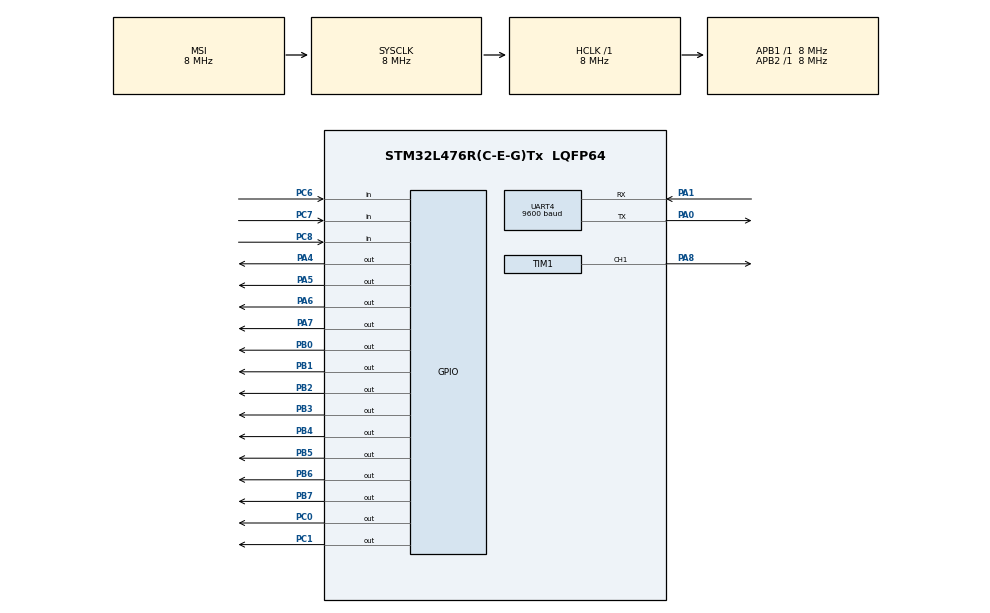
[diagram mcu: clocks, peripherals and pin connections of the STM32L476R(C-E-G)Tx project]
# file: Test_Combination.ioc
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Mcu.Family=STM32L4
Mcu.Name=STM32L476R(C-E-G)Tx
Mcu.Package=LQFP64
NVIC.PriorityGroup=NVIC_PRIORITYGROUP_4
PA0.Mode=Asynchronous
PA0.Signal=UART4_TX
PA1.Mode=Asynchronous
PA1.Signal=UART4_RX
PA4.Signal=GPIO_Output
PA5.Signal=GPIO_Output
PA6.Signal=GPIO_Output
PA7.Signal=GPIO_Output
PA8.Signal=S_TIM1_CH1
PB0.Signal=GPIO_Output
PB1.Signal=GPIO_Output
PB2.Signal=GPIO_Output
PB3\ (JTDO-TRACESWO).Signal=GPIO_Output
PB4\ (NJTRST).Signal=GPIO_Output
PB5.Signal=GPIO_Output
PB6.Signal=GPIO_Output
PB7.Signal=GPIO_Output
PC0.Signal=GPIO_Output
PC1.Signal=GPIO_Output
PC6.Signal=GPIO_Input
PC7.Signal=GPIO_Input
PC8.Signal=GPIO_Input
PH0-OSC_IN\ (PH0).Mode=HSE-External-Oscillator
PH0-OSC_IN\ (PH0).Signal=RCC_OSC_IN
PH1-OSC_OUT\ (PH1).Mode=HSE-External-Oscillator
PH1-OSC_OUT\ (PH1).Signal=RCC_OSC_OUT
ProjectManager.HeapSize=0x200
ProjectManager.StackSize=0x400
ProjectManager.TargetToolchain=MDK-ARM V5
RCC.ADCFreq_Value=32000000
RCC.AHBFreq_Value=8000000
RCC.APB1Freq_Value=8000000
RCC.APB1TimFreq_Value=8000000
RCC.APB2Freq_Value=8000000
RCC.APB2TimFreq_Value=8000000
RCC.CortexFreq_Value=8000000
RCC.HCLKFreq_Value=8000000
RCC.HSE_VALUE=8000000
RCC.HSI_VALUE=16000000
RCC.LSE_VALUE=32768
RCC.MSIClockRange=RCC_MSIRANGE_7
RCC.MSI_VALUE=8000000
RCC.SYSCLKFreq_VALUE=8000000
RCC.USBFreq_Value=32000000
RCC.VCOOutputFreq_Value=64000000
SH.S_TIM1_CH1.0=TIM1_CH1,PWM Generation1 CH1
TIM1.Channel-PWM\ Generation1\ CH1=TIM_CHANNEL_1
TIM1.Period=100
TIM1.Prescaler=1
UART4.BaudRate=9600
UART4.WordLength=WORDLENGTH_8B
VP_TIM1_VS_ClockSourceINT.Mode=Internal
board=Test_Combination

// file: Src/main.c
/**
  ******************************************************************************
  * @file           : main.c
  * @brief          : Main program body
  ******************************************************************************
  ** This notice applies to any and all portions of this file
  * that are not between comment pairs USER CODE BEGIN and
  * USER CODE END. Other portions of this file, whether
  * inserted by the user or by software development tools
  * are owned by their respective copyright owners.
  *
  * COPYRIGHT(c) 2018 STMicroelectronics
  *
  * Redistribution and use in source and binary forms, with or without modification,
  * are permitted provided that the following conditions are met:
  *   1. Redistributions of source code must retain the above copyright notice,
  *      this list of conditions and the following disclaimer.
  *   2. Redistributions in binary form must reproduce the above copyright notice,
  *      this list of conditions and the following disclaimer in the documentation
  *      and/or other materials provided with the distribution.
  *   3. Neither the name of STMicroelectronics nor the names of its contributors
  *      may be used to endorse or promote products derived from this software
  *      without specific prior written permission.
  *
  * THIS SOFTWARE IS PROVIDED BY THE COPYRIGHT HOLDERS AND CONTRIBUTORS "AS IS"
  * AND ANY EXPRESS OR IMPLIED WARRANTIES, INCLUDING, BUT NOT LIMITED TO, THE
  * IMPLIED WARRANTIES OF MERCHANTABILITY AND FITNESS FOR A PARTICULAR PURPOSE ARE
  * DISCLAIMED. IN NO EVENT SHALL THE COPYRIGHT HOLDER OR CONTRIBUTORS BE LIABLE
  * FOR ANY DIRECT, INDIRECT, INCIDENTAL, SPECIAL, EXEMPLARY, OR CONSEQUENTIAL
  * DAMAGES (INCLUDING, BUT NOT LIMITED TO, PROCUREMENT OF SUBSTITUTE GOODS OR
  * SERVICES; LOSS OF USE, DATA, OR PROFITS; OR BUSINESS INTERRUPTION) HOWEVER
  * CAUSED AND ON ANY THEORY OF LIABILITY, WHETHER IN CONTRACT, STRICT LIABILITY,
  * OR TORT (INCLUDING NEGLIGENCE OR OTHERWISE) ARISING IN ANY WAY OUT OF THE USE
  * OF THIS SOFTWARE, EVEN IF ADVISED OF THE POSSIBILITY OF SUCH DAMAGE.
  *
  ******************************************************************************
  */
#include "main.h"
#include "stm32l4xx_hal.h"

/* USER CODE BEGIN Includes */

#define RS_Pin GPIO_PIN_4
#define RS_GPIO_Port GPIOA
#define RW_Pin GPIO_PIN_5
#define RW_GPIO_Port GPIOA
#define EN_Pin GPIO_PIN_6
#define EN_GPIO_Port GPIOA
#define LD2_Pin GPIO_PIN_7
#define LD2_GPIO_Port GPIOA
#define DB0_Pin GPIO_PIN_0
#define DB0_GPIO_Port GPIOB
#define DB1_Pin GPIO_PIN_1
#define DB1_GPIO_Port GPIOB
#define DB2_Pin GPIO_PIN_2
#define DB2_GPIO_Port GPIOB
#define DB3_Pin GPIO_PIN_3
#define DB3_GPIO_Port GPIOB
#define DB4_Pin GPIO_PIN_4
#define DB4_GPIO_Port GPIOB
#define DB5_Pin GPIO_PIN_5
#define DB5_GPIO_Port GPIOB
#define DB6_Pin GPIO_PIN_6
#define DB6_GPIO_Port GPIOB
#define DB7_Pin GPIO_PIN_7
#define DB7_GPIO_Port GPIOB
#define ROW 2
#define COLUMN 16

uint8_t smsat[]="AT\r";
uint8_t smscmgf[]="AT+CMGF=1\r";
uint8_t smscmgr[]="AT+CMGR=x\r";
uint8_t smscmgd[]="AT+CMGD=1,x\r";
uint8_t smscpms[]="AT+CPMS=\"SM\"\r";
uint8_t smscnmi[]="AT+CNMI=2,2,0,0,0\r";
uint8_t pattern[]="Rs. ";
char gsminit[]="GSM Init....";
char start[]="Press next";
char please_select[]="Please Select";
char pay[]="Pay Rs.00.00";
char tez[]="via Tez....";
char received[]="Received";
char no_selection[]="No selection";
char thank_you[]="Thank You";
char collect[]="Enjoy your food";
char underpaid[]="You underpaid";
char pay_the_rest[]="Pay the rest";
char overpaid[]="You overpaid";
char select_more[]="Select more food";
char wait[]="Wait...";

char Nutcrackers[]="Nuts X 00";
int nuts=0,nutstotal=0;
char Bhujiya[]="Bhujiya X 00";
int bhuj=0,transaction=0,bhujtotal=0;
char error[]="Error, try again";
char welcome[]="Welcome...";
char gsm_received_message[]="Money received";
char money[]="0000000000";
char * str_to_be_paid;

GPIO_PinState button1;
GPIO_PinState button2;
GPIO_PinState button3;

int bufferlen=300;

int i,j=0,mode;
int pos=0,success=0,msg_status=0;
int position;
int under_paid=0, over_paid=0;
float value=0,to_be_paid=0,old_to_be_paid=0;
uint8_t buffer[300];
uint8_t buff;

int Period,DutyCycle=40;

uint8_t count,col, printcnt;	//
uint32_t glitchcnt;
char char_to_be_printed;		// Used with printchar() function
static char bufferlcd[8];
char a[] = "Scan->press next";  // 8 digits integer for lcd_itoa(int) function
//DDRAM Address matrix for 20x4 LCD
char lcd_address[ROW][COLUMN]={
												{0x80, 0x81, 0x82, 0x83, 0x84, 0x85, 0x86, 0x87, 0x88, 0x89, 0x90, 0x91, 0x92, 0x93},
												{0xC0, 0xC1, 0xC2, 0xC3, 0xC4, 0xC5, 0xC6, 0xC7, 0xC8, 0xC9, 0xD0, 0xD1, 0xD2, 0xD3}};

/* USER CODE END Includes */

TIM_HandleTypeDef htim1;

UART_HandleTypeDef huart4;

/* USER CODE BEGIN PV */
/* Private variables ---------------------------------------------------------*/

/* USER CODE END PV */

void SystemClock_Config(void);
static void MX_GPIO_Init(void);
static void MX_UART4_Init(void);
static void MX_TIM1_Init(void);
void HAL_TIM_MspPostInit(TIM_HandleTypeDef *htim);

/* USER CODE BEGIN PFP */
/* Private function prototypes -----------------------------------------------*/

/* USER CODE END PFP */

/* USER CODE BEGIN 0 */
void GSM_init()
{
	memset(buffer,0x00,bufferlen);

	i=0;
	HAL_UART_Transmit(&huart4,smsat,3,100);

	HAL_Delay(100);
	do
	{
		if(HAL_UART_Receive(&huart4,&buffer[i++],1,5)==HAL_OK);
	}while(i<bufferlen);

	HAL_Delay(100);

}

void GSM_cmgf()
{
	memset(buffer,0x00,bufferlen);
	i=0;
	HAL_UART_Transmit(&huart4,smscmgf,sizeof(smscmgf)/sizeof(uint8_t),100);
	HAL_Delay(100);
	do
	{
		if(HAL_UART_Receive(&huart4,&buffer[i++],1,5)==HAL_OK);
	}while(i<bufferlen);

	HAL_Delay(100);
}

void GSM_read(int index)
{

	smscmgr[8]=index+48;		//to turn into ASCII
	memset(buffer,0x00,bufferlen);
	i=0;
	HAL_UART_Transmit(&huart4,smscmgr,sizeof(smscmgr)/sizeof(uint8_t),100);
	HAL_Delay(100);
	do
	{
		if(HAL_UART_Receive(&huart4,&buffer[i++],1,5)==HAL_OK);
	}while(i<bufferlen);

	HAL_Delay(100);
}

void GSM_cpms()
{
	memset(buffer,0x00,bufferlen);
	i=0;
	HAL_UART_Transmit(&huart4,smscpms,sizeof(smscpms)/sizeof(uint8_t),100);
	HAL_Delay(100);
	do
	{
		if(HAL_UART_Receive(&huart4,&buffer[i++],1,5)==HAL_OK);
	}while(i<bufferlen);

	HAL_Delay(100);
}
void GSM_delete(int flag)
{
	smscmgd[10]=flag+48;
	memset(buffer,0x00,bufferlen);
	i=0;
	HAL_UART_Transmit(&huart4,smscmgd,sizeof(smscmgd)/sizeof(uint8_t),100);
	HAL_Delay(100);
	do
	{
		if(HAL_UART_Receive(&huart4,&buffer[i++],1,5)==HAL_OK);
	}while(i<bufferlen);

	HAL_Delay(100);
}

void GSM_cnmi()
{
	memset(buffer,0x00,bufferlen);
	i=0;
	HAL_UART_Transmit(&huart4,smscnmi,sizeof(smscnmi)/sizeof(uint8_t),100);
	HAL_Delay(100);
	do
	{
		if(HAL_UART_Receive(&huart4,&buffer[i++],1,5)==HAL_OK);
	}while(i<bufferlen);

	HAL_Delay(100);
}

int GSM_wait_for_message()
{
	int status=0;
	memset(buffer,0x00,bufferlen);
	while(1){

		i=0;
		while(1){
			if(HAL_UART_Receive(&huart4,&buff,1,5)==HAL_OK);
				if(buff=='\r')
				{
					success=1;
					break;
				}
		}
		do
		{
			if(HAL_UART_Receive(&huart4,&buffer[i++],1,5)==HAL_OK);
		}while(i<bufferlen);
		HAL_Delay(100);
		if(i==300)
		{
			status=1;
			break;
		}
	}

	HAL_Delay(100);
	buff=0x00;
	return(status);
}

int search(uint8_t * pattern, int pat_size)
{

	for(pos=1; pos<bufferlen; pos++)
	{
		for (j=0; j<pat_size; j++)
		{
            if (buffer[pos+j] != pattern[j]){
					           break;
						}
	  }
        if (j==pat_size){            // if pat[0...M-1] = txt[i, i+1, ...i+M-1]

					break;
				}
	}
	return(pos);
}

void write_command(void)		//
	{
	HAL_GPIO_WritePin(GPIOA, RS_Pin| RW_Pin | EN_Pin, GPIO_PIN_RESET); //RS, RW and EN are made 0
	HAL_GPIO_WritePin(GPIOA, EN_Pin, GPIO_PIN_SET); //EN is made 1
	HAL_Delay(10);
	HAL_GPIO_WritePin(GPIOA, RW_Pin, GPIO_PIN_SET); //RW is made 1
	HAL_GPIO_WritePin(GPIOA, RW_Pin, GPIO_PIN_RESET); //RW is made 0
	HAL_Delay(10);
	}

/**
  * @brief Clear up LCD panel
  * @param none
	* @retval void
 */
void clrlcd(void)
{
/*
	GPIOB->ODR=0x01;
	write_command();
	HAL_GPIO_WritePin(GPIOA, RW_Pin, GPIO_PIN_RESET); //RW is made 0
*/
	HAL_GPIO_WritePin(GPIOA, RS_Pin| RW_Pin , GPIO_PIN_RESET); //RS, RW are made 0
	GPIOB->ODR=0x01;
	HAL_GPIO_WritePin(GPIOA, EN_Pin, GPIO_PIN_SET); //EN is made 1
	HAL_Delay(50);
	HAL_GPIO_WritePin(GPIOA, EN_Pin, GPIO_PIN_RESET); //EN is made 0
	HAL_Delay(50);
	HAL_GPIO_WritePin(GPIOA, RS_Pin, GPIO_PIN_SET);   //RS is made 1
	HAL_GPIO_WritePin(GPIOA, RW_Pin, GPIO_PIN_RESET); //RW is made 0
}
/**
  * @brief Initialize the 20x4 LCD as per sequence indicated in the datasheet
  * @param none
	* @retval void
 */

void lcd_init(void)
{
	GPIOB->ODR=0xFF; //Set DB7-DB0 High
	HAL_GPIO_WritePin(GPIOA, RS_Pin| RW_Pin | EN_Pin, GPIO_PIN_RESET); //RS, RW and EN are made 0
	GPIOB->ODR=0x30; //DB7-DB0=0x30
	write_command();
	GPIOB->ODR=0x38; //DB7-DB0=0x38
	write_command();
	GPIOB->ODR=0x08; //DB7-DB0=0x08
	write_command();
	GPIOB->ODR=0x03; //DB7-DB0=0x03
	write_command();
	GPIOB->ODR=0x06; //DB7-DB0=0x06
	write_command();
	GPIOB->ODR=0x0C; //DB7-DB0=0x0C                     0x0F will make the cursor visible and blinking =1
	write_command();
	GPIOB->ODR=0x80; //DB7-DB0=0x80
	write_command();
	clrlcd();
}

/**
  * @brief Print a single character on 20x4 LCD panel
  * @param char_to_be_printed: Single character to be printed
	* @retval void
 */
void printchar(char  char_to_be_printed)
{
 GPIOB->ODR=char_to_be_printed;
 HAL_GPIO_WritePin(GPIOA, RS_Pin| EN_Pin, GPIO_PIN_SET); //RS and EN are made 1
 HAL_Delay(10); //EN pulse width
 HAL_GPIO_WritePin(GPIOA, EN_Pin, GPIO_PIN_RESET); //EN is made 0
 HAL_GPIO_WritePin(GPIOA, RW_Pin, GPIO_PIN_SET); //RW is made 1
 HAL_GPIO_WritePin(GPIOA, RW_Pin| RS_Pin| EN_Pin, GPIO_PIN_RESET); //RW, RS and EN are made 0

}

/**
  * @brief Move LCD cursor to the user specified location on the panel
  * @param address: address of the location as per datasheet
	* @retval void
 */
void lcd_setcursor(char address)
{
	GPIOB->ODR=address;
	write_command();
	HAL_GPIO_WritePin(GPIOA, RW_Pin, GPIO_PIN_RESET); //RW is made 0
}

/**
  * @brief Print String at a user specified location on a 20x4 LCD panel
  * @param str: String to be printed with strlen < 20 characters
	* 			 row:	Row number between 0-3
	*				 col: Column number between 0-19
  * @retval void
 */
void printtextatlocation(char * str, uint8_t row, uint8_t col)
{
	//Uncomment the clrlcd() below if right most digit stays back while printing from a 4 digit value to 3 digit value
	//clrlcd();
	lcd_setcursor(lcd_address[0][0]); //Cursor to the first location of the first row
	lcd_setcursor(lcd_address[row][0]); //Cursor to the first location of the desired row
	lcd_setcursor(lcd_address[row][col]); //Cursor to the desired location

	count= strlen(str);
				for(col=0;col<count; col++)
				{
					char_to_be_printed=str[col];
					printchar(char_to_be_printed);
				}
}
/**
  * @brief Convert integer to String for display on 20x4 LCD panel
  * @param value: Integer number to be converted to string
	* @retval void
 */
char * lcd_itoa(int value)
 {
     int original = value;        // save original value
		 int c = sizeof(bufferlcd)-1;

     bufferlcd[c] = 0;                // write NULL in the last byte of the buffer

     if (value < 0)                 // if it's negative, take the absolute value
         value = -value;

     do                             // write LSB of value
     {
         bufferlcd[--c] = (value % 10) + '0';
         value /= 10;
     } while (value);

     if (original < 0)
         bufferlcd[--c] = '-';

     return &bufferlcd[c];
	 }

	 void wait_button_1()
	 {
		 while(1)
		 {
			 if(HAL_GPIO_ReadPin(GPIOC, GPIO_PIN_6)==GPIO_PIN_RESET)
			 {
				 break;
			 }
		 }
		 return;
	 }

	 void wait_for_selection()
	 {
		 nuts=0;
		 bhuj=0;
		 Nutcrackers[8]='0';
		 Bhujiya[11]='0';
		 while(1)
			 {

				 button1=HAL_GPIO_ReadPin(GPIOC, GPIO_PIN_6);
				 button2=HAL_GPIO_ReadPin(GPIOC, GPIO_PIN_7);
				 button3=HAL_GPIO_ReadPin(GPIOC, GPIO_PIN_8);

				 if(button2==GPIO_PIN_RESET)
				 {
					 Nutcrackers[8]++;
					 nuts++;
					 HAL_Delay(100);
				 }

				 if(button3==GPIO_PIN_RESET)
				 {
					 Bhujiya[11]++;
					 bhuj++;
					 HAL_Delay(100);
				 }

				 if(button1==GPIO_PIN_RESET)
				 {
					 HAL_Delay(100);
					 return;
					 break;
				 }
				 HAL_Delay(150);
			 }

	 }

void str2int()
{
		float temp=0;
		int k=1;
		value=0;
		i=4;
	  while(money[i]!='.')
		{
			temp=money[i];
			temp=temp-48;
			value=(value*10)+temp;
			i++;
		}
		i++;
		/*temp=0;
		while(money[i]!=0x00)
		{
			temp=money[i];
			temp=temp-48;
			temp=temp/(10^k);
			k++;
			value=value+temp;
		}*/
}

void motor_rotate()
{
	int time=8000;
	while(nutstotal!=0 || bhujtotal !=0)
	{
		if(nutstotal!=0)
		{
			HAL_GPIO_WritePin(GPIOC,GPIO_PIN_0,GPIO_PIN_RESET);
			nutstotal--;
		}
		if(bhujtotal!=0)
		{
			HAL_GPIO_WritePin(GPIOC,GPIO_PIN_1,GPIO_PIN_RESET);
			bhujtotal--;
		}
		HAL_Delay(time);

			HAL_GPIO_WritePin(GPIOC,GPIO_PIN_0,GPIO_PIN_SET);
			HAL_GPIO_WritePin(GPIOC,GPIO_PIN_1,GPIO_PIN_SET);

	}
	return;
}

/* USER CODE END 0 */

int main(void)
{

  /* MCU Configuration----------------------------------------------------------*/

  /* Reset of all peripherals, Initializes the Flash interface and the Systick. */
  HAL_Init();

  /* Configure the system clock */
  SystemClock_Config();

  /* Initialize all configured peripherals */
  MX_GPIO_Init();
  MX_UART4_Init();
  MX_TIM1_Init();
  /* USER CODE BEGIN 2 */
	HAL_GPIO_WritePin(GPIOC,GPIO_PIN_0,GPIO_PIN_SET);
	HAL_GPIO_WritePin(GPIOC,GPIO_PIN_1,GPIO_PIN_SET);

	Period = htim1.Init.Period +1;
	HAL_TIM_PWM_Start(&htim1, TIM_CHANNEL_1); //PWM Generation for Contrast Pin
	TIM1->CCR1= DutyCycle*Period/100;
	lcd_init(); //Initialize the LCD

	clrlcd();
	printtextatlocation(gsminit,0,0);
	GSM_init();
	GSM_cmgf();
	GSM_delete(4);
	HAL_Delay(500);
	clrlcd();

  /* USER CODE END 2 */

  /* Infinite loop */
  /* USER CODE BEGIN WHILE */
  while (1)
  {

		clrlcd();
		printtextatlocation(welcome,0,0);  //Welcome message
		printtextatlocation(start,1,0);		//Press next to continue
		wait_button_1();									//Waiting for the user to press control button PA6
		to_be_paid=0;
		old_to_be_paid=0;
		transaction=1;

		while(transaction)
		{
					if(!under_paid)
					{
							clrlcd();
							printtextatlocation(please_select,0,0);		//Print select your choice
							printtextatlocation(start,1,0);					//Press next to continue

							wait_for_selection();
							clrlcd();
							printtextatlocation(Nutcrackers,0,0);		//Print selected choices
							printtextatlocation(Bhujiya,1,0);
							HAL_Delay(2000);

					}
					to_be_paid = to_be_paid + (nuts*5) + (bhuj*10);
					nutstotal=nutstotal + nuts;
					bhujtotal=bhujtotal + bhuj;

					if(to_be_paid!=0)
					{
								pay[7]='0';
								pay[8]='0';
								pay[9]='.';
								pay[10]='0';
								pay[11]='0';

								str_to_be_paid=lcd_itoa(to_be_paid);

								i=0;
								while(str_to_be_paid[i]!=0)
								{
										if(to_be_paid<10)
										{
												pay[8+i]=str_to_be_paid[i++];
										}
										else
										{
												pay[7+i]=str_to_be_paid[i++];
										}
								}

								clrlcd();
											//printchar Amount to be paid
								printtextatlocation(wait,0,0);

						{

							msg_status=0;
							GSM_init();
							GSM_cmgf();
							GSM_delete(4);
							HAL_Delay(500);
							clrlcd();
							printtextatlocation(pay,0,0);
							printtextatlocation(tez,1,0);
							GSM_cnmi();
							while(msg_status==0)
							{

								//Setting up of GSM sms receiving mode
								msg_status=GSM_wait_for_message();

							}
							HAL_Delay(100);
							if(msg_status==1)
							{
										clrlcd();
										printtextatlocation(gsm_received_message,0,0);
										HAL_Delay(500);
										position=search(pattern,3);
										i=0;
										while(buffer[position+i]!='c')
										{
											money[i]=buffer[position+i];
											i++;
										}

										str2int();
										value=(int)value;
									}
							else
							{
									clrlcd();
									printtextatlocation(error,0,0);
									HAL_Delay(1000);
							}
								}
							}
										to_be_paid=to_be_paid-value;

										under_paid=0;
										over_paid=0;
							if(nutstotal!=0 || bhujtotal!=0)
							{
										if(to_be_paid==0)
										{
													clrlcd();
													printtextatlocation(thank_you,0,0);
													printtextatlocation(collect,1,0);
													transaction=0;
													HAL_Delay(1000);
													motor_rotate();

										}
										else if(to_be_paid>0)
										{
													clrlcd();
													printtextatlocation(underpaid,0,0);
													printtextatlocation(pay_the_rest,1,0);
													transaction=1;
													under_paid=1;
													HAL_Delay(1000);
										}
										else if(to_be_paid<0)
										{
													clrlcd();
													printtextatlocation(overpaid,0,0);
													printtextatlocation(select_more,1,0);
													transaction=1;
													over_paid=1;
													HAL_Delay(1000);

										}
									}
							else
						{
							clrlcd();
							printtextatlocation(no_selection,0,0);
							HAL_Delay(1000);

						}
										msg_status=0;
										value=0;

							HAL_Delay(2000);
							nuts=0;
							bhuj=0;

						old_to_be_paid=to_be_paid;
						HAL_Delay(1000);
						HAL_Delay(100);

		}
						nutstotal=0;
						Nutcrackers[8]='0';
						Bhujiya[11]='0';
						bhujtotal=0;
		HAL_Delay(100);
  /* USER CODE END WHILE */

		}

}

void SystemClock_Config(void)
{

  RCC_OscInitTypeDef RCC_OscInitStruct;
  RCC_ClkInitTypeDef RCC_ClkInitStruct;
  RCC_PeriphCLKInitTypeDef PeriphClkInit;

    /**Initializes the CPU, AHB and APB busses clocks
    */
  RCC_OscInitStruct.OscillatorType = RCC_OSCILLATORTYPE_MSI;
  RCC_OscInitStruct.MSIState = RCC_MSI_ON;
  RCC_OscInitStruct.MSICalibrationValue = 0;
  RCC_OscInitStruct.MSIClockRange = RCC_MSIRANGE_7;
  RCC_OscInitStruct.PLL.PLLState = RCC_PLL_NONE;
  if (HAL_RCC_OscConfig(&RCC_OscInitStruct) != HAL_OK)
  {
    _Error_Handler(__FILE__, __LINE__);
  }

    /**Initializes the CPU, AHB and APB busses clocks
    */
  RCC_ClkInitStruct.ClockType = RCC_CLOCKTYPE_HCLK|RCC_CLOCKTYPE_SYSCLK
                              |RCC_CLOCKTYPE_PCLK1|RCC_CLOCKTYPE_PCLK2;
  RCC_ClkInitStruct.SYSCLKSource = RCC_SYSCLKSOURCE_MSI;
  RCC_ClkInitStruct.AHBCLKDivider = RCC_SYSCLK_DIV1;
  RCC_ClkInitStruct.APB1CLKDivider = RCC_HCLK_DIV1;
  RCC_ClkInitStruct.APB2CLKDivider = RCC_HCLK_DIV1;

  if (HAL_RCC_ClockConfig(&RCC_ClkInitStruct, FLASH_LATENCY_0) != HAL_OK)
  {
    _Error_Handler(__FILE__, __LINE__);
  }

  PeriphClkInit.PeriphClockSelection = RCC_PERIPHCLK_UART4;
  PeriphClkInit.Uart4ClockSelection = RCC_UART4CLKSOURCE_PCLK1;
  if (HAL_RCCEx_PeriphCLKConfig(&PeriphClkInit) != HAL_OK)
  {
    _Error_Handler(__FILE__, __LINE__);
  }

    /**Configure the main internal regulator output voltage
    */
  if (HAL_PWREx_ControlVoltageScaling(PWR_REGULATOR_VOLTAGE_SCALE1) != HAL_OK)
  {
    _Error_Handler(__FILE__, __LINE__);
  }

    /**Configure the Systick interrupt time
    */
  HAL_SYSTICK_Config(HAL_RCC_GetHCLKFreq()/1000);

    /**Configure the Systick
    */
  HAL_SYSTICK_CLKSourceConfig(SYSTICK_CLKSOURCE_HCLK);

  /* SysTick_IRQn interrupt configuration */
  HAL_NVIC_SetPriority(SysTick_IRQn, 0, 0);
}

/* TIM1 init function */
static void MX_TIM1_Init(void)
{

  TIM_ClockConfigTypeDef sClockSourceConfig;
  TIM_MasterConfigTypeDef sMasterConfig;
  TIM_OC_InitTypeDef sConfigOC;
  TIM_BreakDeadTimeConfigTypeDef sBreakDeadTimeConfig;

  htim1.Instance = TIM1;
  htim1.Init.Prescaler = 1;
  htim1.Init.CounterMode = TIM_COUNTERMODE_UP;
  htim1.Init.Period = 100;
  htim1.Init.ClockDivision = TIM_CLOCKDIVISION_DIV1;
  htim1.Init.RepetitionCounter = 0;
  htim1.Init.AutoReloadPreload = TIM_AUTORELOAD_PRELOAD_DISABLE;
  if (HAL_TIM_Base_Init(&htim1) != HAL_OK)
  {
    _Error_Handler(__FILE__, __LINE__);
  }

  sClockSourceConfig.ClockSource = TIM_CLOCKSOURCE_INTERNAL;
  if (HAL_TIM_ConfigClockSource(&htim1, &sClockSourceConfig) != HAL_OK)
  {
    _Error_Handler(__FILE__, __LINE__);
  }

  if (HAL_TIM_PWM_Init(&htim1) != HAL_OK)
  {
    _Error_Handler(__FILE__, __LINE__);
  }

  sMasterConfig.MasterOutputTrigger = TIM_TRGO_RESET;
  sMasterConfig.MasterOutputTrigger2 = TIM_TRGO2_RESET;
  sMasterConfig.MasterSlaveMode = TIM_MASTERSLAVEMODE_DISABLE;
  if (HAL_TIMEx_MasterConfigSynchronization(&htim1, &sMasterConfig) != HAL_OK)
  {
    _Error_Handler(__FILE__, __LINE__);
  }

  sConfigOC.OCMode = TIM_OCMODE_PWM1;
  sConfigOC.Pulse = 0;
  sConfigOC.OCPolarity = TIM_OCPOLARITY_HIGH;
  sConfigOC.OCNPolarity = TIM_OCNPOLARITY_HIGH;
  sConfigOC.OCFastMode = TIM_OCFAST_DISABLE;
  sConfigOC.OCIdleState = TIM_OCIDLESTATE_RESET;
  sConfigOC.OCNIdleState = TIM_OCNIDLESTATE_RESET;
  if (HAL_TIM_PWM_ConfigChannel(&htim1, &sConfigOC, TIM_CHANNEL_1) != HAL_OK)
  {
    _Error_Handler(__FILE__, __LINE__);
  }

  sBreakDeadTimeConfig.OffStateRunMode = TIM_OSSR_DISABLE;
  sBreakDeadTimeConfig.OffStateIDLEMode = TIM_OSSI_DISABLE;
  sBreakDeadTimeConfig.LockLevel = TIM_LOCKLEVEL_OFF;
  sBreakDeadTimeConfig.DeadTime = 0;
  sBreakDeadTimeConfig.BreakState = TIM_BREAK_DISABLE;
  sBreakDeadTimeConfig.BreakPolarity = TIM_BREAKPOLARITY_HIGH;
  sBreakDeadTimeConfig.BreakFilter = 0;
  sBreakDeadTimeConfig.Break2State = TIM_BREAK2_DISABLE;
  sBreakDeadTimeConfig.Break2Polarity = TIM_BREAK2POLARITY_HIGH;
  sBreakDeadTimeConfig.Break2Filter = 0;
  sBreakDeadTimeConfig.AutomaticOutput = TIM_AUTOMATICOUTPUT_DISABLE;
  if (HAL_TIMEx_ConfigBreakDeadTime(&htim1, &sBreakDeadTimeConfig) != HAL_OK)
  {
    _Error_Handler(__FILE__, __LINE__);
  }

  HAL_TIM_MspPostInit(&htim1);

}

/* UART4 init function */
static void MX_UART4_Init(void)
{

  huart4.Instance = UART4;
  huart4.Init.BaudRate = 9600;
  huart4.Init.WordLength = UART_WORDLENGTH_8B;
  huart4.Init.StopBits = UART_STOPBITS_1;
  huart4.Init.Parity = UART_PARITY_NONE;
  huart4.Init.Mode = UART_MODE_TX_RX;
  huart4.Init.HwFlowCtl = UART_HWCONTROL_NONE;
  huart4.Init.OverSampling = UART_OVERSAMPLING_16;
  huart4.Init.OneBitSampling = UART_ONE_BIT_SAMPLE_DISABLE;
  huart4.AdvancedInit.AdvFeatureInit = UART_ADVFEATURE_NO_INIT;
  if (HAL_UART_Init(&huart4) != HAL_OK)
  {
    _Error_Handler(__FILE__, __LINE__);
  }

}

/** Configure pins as
        * Analog
        * Input
        * Output
        * EVENT_OUT
        * EXTI
*/
static void MX_GPIO_Init(void)
{

  GPIO_InitTypeDef GPIO_InitStruct;

  /* GPIO Ports Clock Enable */
  __HAL_RCC_GPIOH_CLK_ENABLE();
  __HAL_RCC_GPIOC_CLK_ENABLE();
  __HAL_RCC_GPIOA_CLK_ENABLE();
  __HAL_RCC_GPIOB_CLK_ENABLE();

  /*Configure GPIO pin Output Level */
  HAL_GPIO_WritePin(GPIOC, GPIO_PIN_0|GPIO_PIN_1, GPIO_PIN_RESET);

  /*Configure GPIO pin Output Level */
  HAL_GPIO_WritePin(GPIOA, GPIO_PIN_4|GPIO_PIN_5|GPIO_PIN_6|GPIO_PIN_7, GPIO_PIN_RESET);

  /*Configure GPIO pin Output Level */
  HAL_GPIO_WritePin(GPIOB, GPIO_PIN_0|GPIO_PIN_1|GPIO_PIN_2|GPIO_PIN_3
                          |GPIO_PIN_4|GPIO_PIN_5|GPIO_PIN_6|GPIO_PIN_7, GPIO_PIN_RESET);

  /*Configure GPIO pins : PC0 PC1 */
  GPIO_InitStruct.Pin = GPIO_PIN_0|GPIO_PIN_1;
  GPIO_InitStruct.Mode = GPIO_MODE_OUTPUT_PP;
  GPIO_InitStruct.Pull = GPIO_NOPULL;
  GPIO_InitStruct.Speed = GPIO_SPEED_FREQ_LOW;
  HAL_GPIO_Init(GPIOC, &GPIO_InitStruct);

  /*Configure GPIO pins : PA4 PA5 PA6 PA7 */
  GPIO_InitStruct.Pin = GPIO_PIN_4|GPIO_PIN_5|GPIO_PIN_6|GPIO_PIN_7;
  GPIO_InitStruct.Mode = GPIO_MODE_OUTPUT_PP;
  GPIO_InitStruct.Pull = GPIO_NOPULL;
  GPIO_InitStruct.Speed = GPIO_SPEED_FREQ_LOW;
  HAL_GPIO_Init(GPIOA, &GPIO_InitStruct);

  /*Configure GPIO pins : PB0 PB1 PB2 PB3
                           PB4 PB5 PB6 PB7 */
  GPIO_InitStruct.Pin = GPIO_PIN_0|GPIO_PIN_1|GPIO_PIN_2|GPIO_PIN_3
                          |GPIO_PIN_4|GPIO_PIN_5|GPIO_PIN_6|GPIO_PIN_7;
  GPIO_InitStruct.Mode = GPIO_MODE_OUTPUT_PP;
  GPIO_InitStruct.Pull = GPIO_NOPULL;
  GPIO_InitStruct.Speed = GPIO_SPEED_FREQ_LOW;
  HAL_GPIO_Init(GPIOB, &GPIO_InitStruct);

  /*Configure GPIO pins : PC6 PC7 PC8 */
  GPIO_InitStruct.Pin = GPIO_PIN_6|GPIO_PIN_7|GPIO_PIN_8;
  GPIO_InitStruct.Mode = GPIO_MODE_INPUT;
  GPIO_InitStruct.Pull = GPIO_NOPULL;
  HAL_GPIO_Init(GPIOC, &GPIO_InitStruct);

}

void _Error_Handler(char *file, int line)
{
  while(1)
  {
  }
}

/************************ (C) COPYRIGHT STMicroelectronics *****END OF FILE****/
